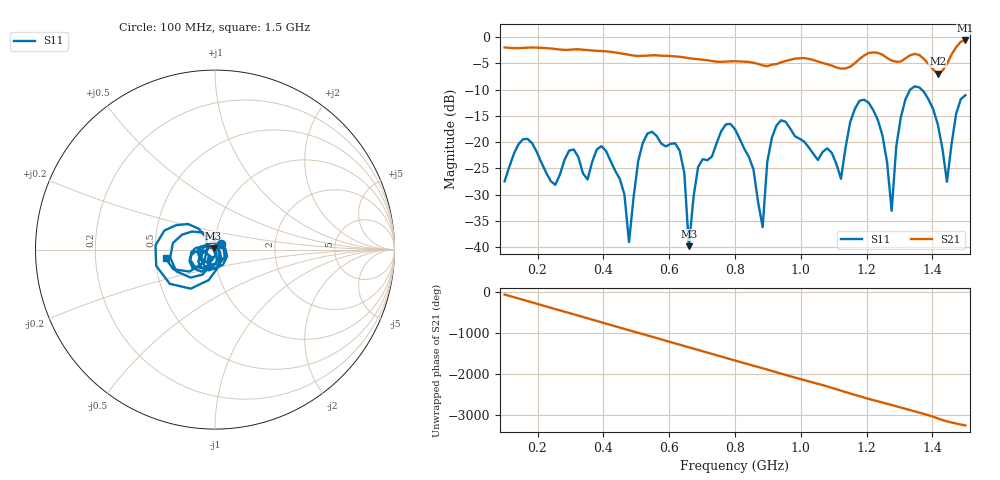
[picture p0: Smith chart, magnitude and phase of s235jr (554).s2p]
! NanoVNA-App
! Date: 2025-09-25 15:08:28
! Start: 100MHz Stop: 1,5GHz Points: 101
! S-Parameter data: F S11 S21 S12 S22
# Hz S RI R 50
!  Frequency  S11_Real  S11_Imag  S21_Real  S21_Imag  S12_Real  S12_Imag  S22_Real  S22_Imag
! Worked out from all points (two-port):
!   101 points, 100 MHz to 1.5 GHz, reference 50 ohm
!   highest |S21| = -0.63 dB at 1.5 GHz (marker M1); lowest = -7.0 dB at 1.416 GHz (marker M2)
!   |S21| within 3 dB of the highest: start of sweep to 609.6 MHz; 1.189 GHz to 1.254 GHz (65.16 MHz wide, 5.33 % of centre) (the widest 2 of 4)
!   lowest |S11| = -39.8 dB at 660 MHz (marker M3), VSWR 1.02, Z = 49.2 + j0.643 ohm
!   |S11| at or under -10 dB: start of sweep to 1.332 GHz; 1.367 GHz to end of sweep
!   S12 and S22 are empty: the file has one direction only
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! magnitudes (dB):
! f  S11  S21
! 100 MHz  -27.5  -2.0
! 156 MHz  -19.4  -2.1
! 338 MHz  -25.9  -2.4
! 408 MHz  -21.7  -2.7
! 478 MHz  -39.0  -3.4
! 520 MHz  -20.1  -3.6
! 576 MHz  -20.3  -3.5
! 632 MHz  -21.6  -3.7
! 660 MHz  -39.8  -4.0
! 688 MHz  -24.7  -4.2
! 800 MHz  -17.5  -4.6
! 884 MHz  -36.2  -5.4
! 926 MHz  -16.8  -5.1
! 1.038 GHz  -22.2  -4.3
! 1.122 GHz  -27.0  -6.0
! 1.206 GHz  -12.5  -3.0
! 1.276 GHz  -33.1  -4.5
! 1.29 GHz  -20.8  -4.7
! 1.332 GHz  -10.0  -3.4
! 1.416 GHz  -16.6  -7.0
! 1.444 GHz  -27.5  -5.1
! 1.5 GHz  -11.1  -0.6
